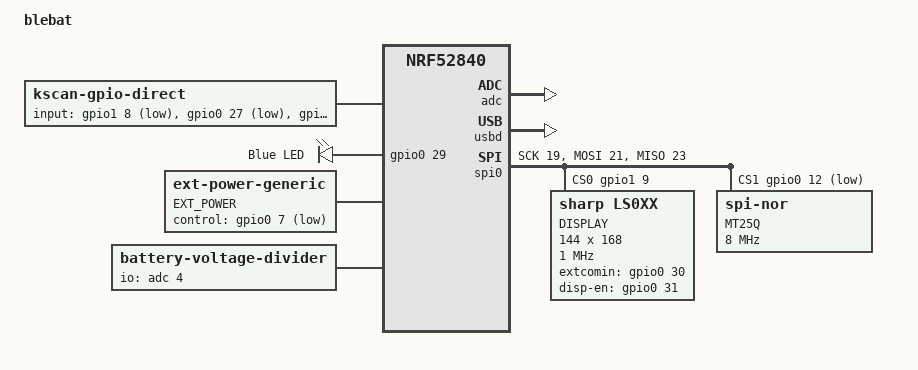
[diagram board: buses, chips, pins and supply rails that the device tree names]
/*
 * Copyright (c) 2020 Pete Johanson
 *
 * SPDX-License-Identifier: MIT
 */

/dts-v1/;
#include <nordic/nrf52840_qiaa.dtsi>

/ {
    model = "blebat";
    compatible = "blebat";

    chosen {
        zephyr,code-partition = &code_partition;
        zephyr,sram = &sram0;
        zephyr,flash = &flash0;
        zmk,kscan = &kscan0;
    };

    kscan0: kscan {
        compatible = "zmk,kscan-gpio-direct";

        label = "KSCAN";
        input-gpios
            = <&gpio1  8 (GPIO_ACTIVE_LOW | GPIO_PULL_UP)>
            , <&gpio0 27 (GPIO_ACTIVE_LOW | GPIO_PULL_UP)>
            , <&gpio0 11 (GPIO_ACTIVE_LOW | GPIO_PULL_UP)>
            , <&gpio0 25 (GPIO_ACTIVE_LOW | GPIO_PULL_UP)>
            , <&gpio1 12 (GPIO_ACTIVE_LOW | GPIO_PULL_UP)>
            , <&gpio1 14 (GPIO_ACTIVE_LOW | GPIO_PULL_UP)>
            , <&gpio1  7 (GPIO_ACTIVE_LOW | GPIO_PULL_UP)>
            , <&gpio1  5 (GPIO_ACTIVE_LOW | GPIO_PULL_UP)>
            , <&gpio0 24 (GPIO_ACTIVE_LOW | GPIO_PULL_UP)>
            , <&gpio0 20 (GPIO_ACTIVE_LOW | GPIO_PULL_UP)>
            , <&gpio0 15 (GPIO_ACTIVE_LOW | GPIO_PULL_UP)>
            , <&gpio0 17 (GPIO_ACTIVE_LOW | GPIO_PULL_UP)>

            , <&gpio1 11 (GPIO_ACTIVE_LOW | GPIO_PULL_UP)>
            , <&gpio1 10 (GPIO_ACTIVE_LOW | GPIO_PULL_UP)>
            , <&gpio0  8 (GPIO_ACTIVE_LOW | GPIO_PULL_UP)>
            , <&gpio0  6 (GPIO_ACTIVE_LOW | GPIO_PULL_UP)>
            , <&gpio0 26 (GPIO_ACTIVE_LOW | GPIO_PULL_UP)>
            , <&gpio1 13 (GPIO_ACTIVE_LOW | GPIO_PULL_UP)>
            , <&gpio1  6 (GPIO_ACTIVE_LOW | GPIO_PULL_UP)>
            , <&gpio0 16 (GPIO_ACTIVE_LOW | GPIO_PULL_UP)>
            , <&gpio0 13 (GPIO_ACTIVE_LOW | GPIO_PULL_UP)>
            , <&gpio0 14 (GPIO_ACTIVE_LOW | GPIO_PULL_UP)>
            , <&gpio0  9 (GPIO_ACTIVE_LOW | GPIO_PULL_UP)>
            , <&gpio0 10 (GPIO_ACTIVE_LOW | GPIO_PULL_UP)>

            , <&gpio1 15 (GPIO_ACTIVE_LOW | GPIO_PULL_UP)>
            , <&gpio0  3 (GPIO_ACTIVE_LOW | GPIO_PULL_UP)>
            , <&gpio0  2 (GPIO_ACTIVE_LOW | GPIO_PULL_UP)>
            , <&gpio1  1 (GPIO_ACTIVE_LOW | GPIO_PULL_UP)>
            , <&gpio1  2 (GPIO_ACTIVE_LOW | GPIO_PULL_UP)>
            , <&gpio1  4 (GPIO_ACTIVE_LOW | GPIO_PULL_UP)>
            ;
    };

    leds {
        compatible = "gpio-leds";
        blue_led: led_0 {
            gpios = <&gpio0 29 GPIO_ACTIVE_HIGH>;
            label = "Blue LED";
        };
    };

    ext-power {
        compatible = "zmk,ext-power-generic";
        label = "EXT_POWER";
        control-gpios = <&gpio0 7 GPIO_ACTIVE_LOW>;
    };

    vbatt {
        compatible = "zmk,battery-voltage-divider";
        label = "BATTERY";
        io-channels = <&adc 4>;
        output-ohms = <2000000>;
        full-ohms = <(2000000 + 2000000)>;
    };
};

&adc {
    status = "okay";
};

&gpiote {
    status = "okay";
};

&gpio0 {
    status = "okay";
};

&gpio1 {
    status = "okay";
};

&usbd {
    status = "okay";
};


&flash0 {
    /*
     * For more information, see:
     * http://docs.zephyrproject.org/latest/devices/dts/flash_partitions.html
     */
    partitions {
        compatible = "fixed-partitions";
        #address-cells = <1>;
        #size-cells = <1>;

        sd_partition: partition@0 {
            label = "mbr";
            reg = <0x00000000 0x00001000>;
        };
        code_partition: partition@1000 {
            label = "code_partition";
            reg = <0x00001000 0x000d3000>;
        };

        /*
         * The flash starting at 0x000d4000 and ending at
         * 0x000f3fff is reserved for use by the application.
         */

        /*
         * Storage partition will be used by FCB/LittleFS/NVS
         * if enabled.
         */
        storage_partition: partition@d4000 {
            label = "storage";
            reg = <0x000d4000 0x00020000>;
        };

        boot_partition: partition@f4000 {
            label = "adafruit_boot";
            reg = <0x000f4000 0x0000c000>;
        };
    };
};

/* &i2c0 { */
/*     /1* status = "okay"; *1/ */
/*     compatible = "nordic,nrf-twi"; */
/*     sda-pin = <32>; */
/*     scl-pin = <22>; */

/*     oled: ssd1306@3c { */
/*         compatible = "solomon,ssd1306fb"; */
/*         reg = <0x3c>; */
/*         label = "DISPLAY"; */
/*         width = <128>; */
/*         height = <64>; */
/*         segment-offset = <0>; */
/*         page-offset = <0>; */
/*         display-offset = <0>; */
/*         multiplex-ratio = <63>; */
/*         prechargep = <0x22>; */
/*         segment-remap; */
/*         com-invdir; */
/*     }; */
/* }; */

&spi0 {
    compatible = "nordic,nrf-spim";
    status = "okay";
    sck-pin = <19>;
    mosi-pin = <21>;
    miso-pin = <23>;

    /* cs-gpios = <&gpio1 9 GPIO_ACTIVE_LOW>; */
    /* ili9340@0 { */
    /*     compatible = "ilitek,ili9340"; */
    /*     label = "DISPLAY"; */
    /*     reg = <0>; */
    /*     reset-gpios = <&gpio0 30 GPIO_ACTIVE_LOW>; */
    /*     cmd-data-gpios = <&gpio0 5 GPIO_ACTIVE_LOW>; */
    /*     spi-max-frequency = <12000000>; */
    /* }; */
    cs-gpios = <&gpio1 9 GPIO_ACTIVE_HIGH>, <&gpio0 12 GPIO_ACTIVE_LOW>;
    sharp: sharp_lcd@0 {
        compatible = "sharp,ls0xx";
        label = "DISPLAY";
        reg = <0>;
        status = "okay";
        spi-max-frequency = <1000000>;
        height = <168>;
        width = <144>;
        extcomin-gpios = <&gpio0 30 GPIO_ACTIVE_HIGH>;
        extcomin-frequency = <60>;
        disp-en-gpios = <&gpio0 31 GPIO_ACTIVE_HIGH>;
    };
    spi_flash: flash@1 {
        compatible = "jedec,spi-nor";
        reg = <1>;
        spi-max-frequency = <8000000>;
        label = "MT25Q";
        jedec-id = [ef 40 18];
        size = <0x8000000>;
        has-dpd;
        t-enter-dpd = <3000>;
        t-exit-dpd = <30000>;
    };
};

/* &qspi { */
/*     status = "okay"; */
/*     io-pins = <21>, <23>; */
/*     sck-pin = <19>; */
/*     csn-pins = <12>; */
/*     spi_flash: flash@0 { */
/*         compatible = "nordic,qspi-nor"; */
/*         reg = <0>; */
/*         writeoc = "pp"; */
/*         readoc = "fastread"; */
/*         sck-frequency = <8000000>; */
/*         label = "MT25Q"; */
/*         jedec-id = [1f 89 01]; */
/*         size = <0x8000000>; */
/*         has-dpd; */
/*         t-enter-dpd = <3000>; */
/*         t-exit-dpd = <30000>; */
/*     }; */
/* }; */
